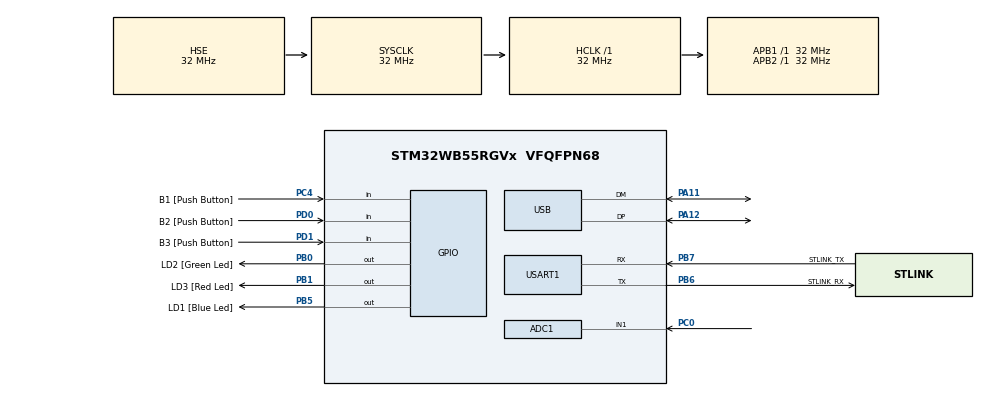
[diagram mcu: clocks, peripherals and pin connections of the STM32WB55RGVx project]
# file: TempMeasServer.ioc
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ADC1.Channel-0\#ChannelRegularConversion=ADC_CHANNEL_1
ADC1.NbrOfConversionFlag=1
ADC1.OffsetNumber-0\#ChannelRegularConversion=ADC_OFFSET_NONE
ADC1.Rank-0\#ChannelRegularConversion=1
ADC1.SamplingTime-0\#ChannelRegularConversion=ADC_SAMPLETIME_2CYCLES_5
ADC1.master=1
Mcu.Family=STM32WB
Mcu.Name=STM32WB55RGVx
Mcu.Package=VFQFPN68
NVIC.ADC1_IRQn=true\:0\:0\:false\:false\:true\:true\:true\:true
NVIC.HSEM_IRQn=true\:0\:0\:false\:false\:true\:false\:true\:true
NVIC.IPCC_C1_RX_IRQn=true\:0\:0\:false\:false\:true\:true\:true\:true
NVIC.IPCC_C1_TX_IRQn=true\:0\:0\:false\:false\:true\:true\:true\:true
NVIC.PriorityGroup=NVIC_PRIORITYGROUP_4
NVIC.USART1_IRQn=true\:0\:0\:false\:false\:true\:true\:true\:true
NVIC.USB_HP_IRQn=true\:0\:0\:false\:false\:true\:true\:true\:true
NVIC.USB_LP_IRQn=true\:0\:0\:false\:false\:true\:true\:true\:true
OSC_IN.Mode=HSE-External-Oscillator
OSC_IN.Signal=RCC_OSC_IN
OSC_OUT.Mode=HSE-External-Oscillator
OSC_OUT.Signal=RCC_OSC_OUT
PA11.Mode=Device
PA11.Signal=USB_DM
PA12.Mode=Device
PA12.Signal=USB_DP
PA13.GPIO_Label=JTMS
PA13.Mode=Trace_Asynchronous_SW
PA13.Signal=SYS_JTMS-SWDIO
PA14.GPIO_Label=JTCK
PA14.Mode=Trace_Asynchronous_SW
PA14.Signal=SYS_JTCK-SWCLK
PB0.GPIO_Label=LD2 [Green Led]
PB0.Signal=GPIO_Output
PB1.GPIO_Label=LD3 [Red Led]
PB1.Signal=GPIO_Output
PB3.GPIO_Label=JTDO
PB3.Mode=Trace_Asynchronous_SW
PB3.Signal=SYS_JTDO-SWO
PB5.GPIO_Label=LD1 [Blue Led]
PB5.Signal=GPIO_Output
PB6.GPIO_Label=STLINK_RX
PB6.GPIO_PuPd=GPIO_PULLUP
PB6.Mode=Asynchronous
PB6.Signal=USART1_TX
PB7.GPIO_Label=STLINK_TX
PB7.GPIO_PuPd=GPIO_PULLUP
PB7.Mode=Asynchronous
PB7.Signal=USART1_RX
PC0.Signal=ADCx_IN1
PC13.Mode=SYS_WakeUp1
PC13.Signal=SYS_WKUP2
PC14-OSC32_IN.Mode=LSE-External-Oscillator
PC14-OSC32_IN.Signal=RCC_OSC32_IN
PC15-OSC32_OUT.Mode=LSE-External-Oscillator
PC15-OSC32_OUT.Signal=RCC_OSC32_OUT
PC4.GPIO_Label=B1 [Push Button]
PC4.Signal=GPIO_Input
PD0.GPIO_Label=B2 [Push Button]
PD0.Signal=GPIO_Input
PD1.GPIO_Label=B3 [Push Button]
PD1.Signal=GPIO_Input
ProjectManager.HeapSize=0x200
ProjectManager.StackSize=0x400
ProjectManager.TargetToolchain=STM32CubeIDE
RCC.ADCFreq_Value=48000000
RCC.AHBFreq_Value=32000000
RCC.APB1Freq_Value=32000000
RCC.APB1TimFreq_Value=32000000
RCC.APB2Freq_Value=32000000
RCC.APB2TimFreq_Value=32000000
RCC.APB3Freq_Value=16000000
RCC.CortexFreq_Value=32000000
RCC.HCLKFreq_Value=32000000
RCC.HSE_VALUE=32000000
RCC.HSI48_VALUE=48000000
RCC.HSI_VALUE=16000000
RCC.LSE_Drive_Capability=RCC_LSEDRIVE_LOW
RCC.PLLN=32
RCC.PLLSAI1N=24
RCC.SMPSCLockSelectionVirtual=RCC_SMPSCLKSOURCE_HSI
RCC.SMPSCLockSelectionVirtualVirtual=RCC_SMPSCLKSOURCE_HSI
RCC.SMPSDivider=1
RCC.SYSCLKFreq_VALUE=32000000
RCC.SYSCLKSource=RCC_SYSCLKSOURCE_HSE
RCC.USBFreq_Value=48000000
RCC.VCOOutputFreq_Value=128000000
RF1.Mode=RF1_Activate
RF1.Signal=RF_RF1
SH.ADCx_IN1.0=ADC1_IN1,IN1-Single-Ended
STM32_WPAN.APPLI_CONFIG_LOG_LEVEL=LOG_LEVEL_DEBG
STM32_WPAN.CFG_DEBUG_TRACE_FULL=1
STM32_WPAN.CFG_DEBUG_TRACE_UART=hw_uart1
STM32_WPAN.CFG_HW_USART1_ENABLED=1
STM32_WPAN.ENDPOINT1_DEVICE_ID=ZCL_DEVICE_COMBINED_INTERFACE
STM32_WPAN.ZCL_TEMPERATURE_MEASUREMENT_ENDPOINT1=SERVER
USART1.VirtualMode-Asynchronous=VM_ASYNC
USART1.WordLength=WORDLENGTH_8B
VP_HSEM_VS_HSEM.Mode=HSEM_Activate
VP_IPCC_VS_IPCC.Mode=IPCC_Activate
VP_MEMORYMAP_VS_MEMORYMAP.Mode=CurAppReg
VP_RTC_VS_RTC_Activate.Mode=RTC_Enabled
VP_SEQUENCER_VS_SEQUENCER.Mode=SEQUENCER_Enabled
VP_STM32_WPAN_VS_ZIGBEE.Mode=MOD_ZGB_ENDPOINT
VP_TINY_LPM_VS_TINY_LPM.Mode=TINY_LPM_Enabled
board=P-NUCLEO-WB55-NUCLEO

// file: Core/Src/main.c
/* USER CODE BEGIN Header */
/**
  ******************************************************************************
  * @file           : main.c
  * @brief          : Main program body
  ******************************************************************************
  * @attention
  *
  * Copyright (c) 2024 STMicroelectronics.
  * All rights reserved.
  *
  * This software is licensed under terms that can be found in the LICENSE file
  * in the root directory of this software component.
  * If no LICENSE file comes with this software, it is provided AS-IS.
  *
  ******************************************************************************
  */
/* USER CODE END Header */
#include "main.h"

/* USER CODE BEGIN Includes */
#include "stdio.h"
#include "app_zigbee.h"
#include "stm32_seq.h"
#include "stm32wbxx_nucleo.h"
/* USER CODE END Includes */

ADC_HandleTypeDef hadc1;

IPCC_HandleTypeDef hipcc;

RTC_HandleTypeDef hrtc;

UART_HandleTypeDef huart1;

PCD_HandleTypeDef hpcd_USB_FS;

void SystemClock_Config(void);
void PeriphCommonClock_Config(void);
static void MX_GPIO_Init(void);
static void MX_USART1_UART_Init(void);
static void MX_USB_PCD_Init(void);
static void MX_ADC1_Init(void);
static void MX_IPCC_Init(void);
static void MX_RTC_Init(void);
static void MX_RF_Init(void);
/* USER CODE BEGIN PFP */
static void ADC_SEQ_Proc(void);

/* USER CODE END PFP */

int main(void)
{

  /* MCU Configuration--------------------------------------------------------*/

  /* Reset of all peripherals, Initializes the Flash interface and the Systick. */
  HAL_Init();
  /* Config code for STM32_WPAN (HSE Tuning must be done before system clock configuration) */
  MX_APPE_Config();

  /* Configure the system clock */
  SystemClock_Config();

/* Configure the peripherals common clocks */
  PeriphCommonClock_Config();

  /* IPCC initialisation */
  MX_IPCC_Init();

  /* Initialize all configured peripherals */
  MX_GPIO_Init();
  MX_USART1_UART_Init();
  MX_USB_PCD_Init();
  MX_ADC1_Init();
  MX_RTC_Init();
  MX_RF_Init();
  /* USER CODE BEGIN 2 */

  BSP_LED_Init(LED_RED);
  /* USER CODE END 2 */

  /* Init code for STM32_WPAN */
  MX_APPE_Init();

  /* Infinite loop */
  /* USER CODE BEGIN WHILE */
  HAL_ADC_Start_IT(&hadc1);

  UTIL_SEQ_RegTask(1U << CFG_TASK_WRITE_ADC, UTIL_SEQ_RFU, ADC_SEQ_Proc);

  while (1)
  {
    /* USER CODE END WHILE */
    MX_APPE_Process();

  }
}

void SystemClock_Config(void)
{
  RCC_OscInitTypeDef RCC_OscInitStruct = {0};
  RCC_ClkInitTypeDef RCC_ClkInitStruct = {0};

  /** Macro to configure the PLL multiplication factor
  */
  __HAL_RCC_PLL_PLLM_CONFIG(RCC_PLLM_DIV1);

  /** Macro to configure the PLL clock source
  */
  __HAL_RCC_PLL_PLLSOURCE_CONFIG(RCC_PLLSOURCE_MSI);

  /** Configure LSE Drive Capability
  */
  HAL_PWR_EnableBkUpAccess();
  __HAL_RCC_LSEDRIVE_CONFIG(RCC_LSEDRIVE_LOW);

  /** Configure the main internal regulator output voltage
  */
  __HAL_PWR_VOLTAGESCALING_CONFIG(PWR_REGULATOR_VOLTAGE_SCALE1);

  /** Initializes the RCC Oscillators according to the specified parameters
  * in the RCC_OscInitTypeDef structure.
  */
  RCC_OscInitStruct.OscillatorType = RCC_OSCILLATORTYPE_HSI|RCC_OSCILLATORTYPE_LSI1
                              |RCC_OSCILLATORTYPE_HSE|RCC_OSCILLATORTYPE_LSE
                              |RCC_OSCILLATORTYPE_MSI;
  RCC_OscInitStruct.HSEState = RCC_HSE_ON;
  RCC_OscInitStruct.LSEState = RCC_LSE_ON;
  RCC_OscInitStruct.HSIState = RCC_HSI_ON;
  RCC_OscInitStruct.MSIState = RCC_MSI_ON;
  RCC_OscInitStruct.HSICalibrationValue = RCC_HSICALIBRATION_DEFAULT;
  RCC_OscInitStruct.MSICalibrationValue = RCC_MSICALIBRATION_DEFAULT;
  RCC_OscInitStruct.MSIClockRange = RCC_MSIRANGE_6;
  RCC_OscInitStruct.LSIState = RCC_LSI_ON;
  RCC_OscInitStruct.PLL.PLLState = RCC_PLL_NONE;
  if (HAL_RCC_OscConfig(&RCC_OscInitStruct) != HAL_OK)
  {
    Error_Handler();
  }

  /** Configure the SYSCLKSource, HCLK, PCLK1 and PCLK2 clocks dividers
  */
  RCC_ClkInitStruct.ClockType = RCC_CLOCKTYPE_HCLK4|RCC_CLOCKTYPE_HCLK2
                              |RCC_CLOCKTYPE_HCLK|RCC_CLOCKTYPE_SYSCLK
                              |RCC_CLOCKTYPE_PCLK1|RCC_CLOCKTYPE_PCLK2;
  RCC_ClkInitStruct.SYSCLKSource = RCC_SYSCLKSOURCE_HSE;
  RCC_ClkInitStruct.AHBCLKDivider = RCC_SYSCLK_DIV1;
  RCC_ClkInitStruct.APB1CLKDivider = RCC_HCLK_DIV1;
  RCC_ClkInitStruct.APB2CLKDivider = RCC_HCLK_DIV1;
  RCC_ClkInitStruct.AHBCLK2Divider = RCC_SYSCLK_DIV1;
  RCC_ClkInitStruct.AHBCLK4Divider = RCC_SYSCLK_DIV1;

  if (HAL_RCC_ClockConfig(&RCC_ClkInitStruct, FLASH_LATENCY_1) != HAL_OK)
  {
    Error_Handler();
  }

  /** Enable MSI Auto calibration
  */
  HAL_RCCEx_EnableMSIPLLMode();
}

void PeriphCommonClock_Config(void)
{
  RCC_PeriphCLKInitTypeDef PeriphClkInitStruct = {0};

  /** Initializes the peripherals clock
  */
  PeriphClkInitStruct.PeriphClockSelection = RCC_PERIPHCLK_SMPS|RCC_PERIPHCLK_RFWAKEUP
                              |RCC_PERIPHCLK_USB|RCC_PERIPHCLK_ADC;
  PeriphClkInitStruct.PLLSAI1.PLLN = 24;
  PeriphClkInitStruct.PLLSAI1.PLLP = RCC_PLLP_DIV2;
  PeriphClkInitStruct.PLLSAI1.PLLQ = RCC_PLLQ_DIV2;
  PeriphClkInitStruct.PLLSAI1.PLLR = RCC_PLLR_DIV2;
  PeriphClkInitStruct.PLLSAI1.PLLSAI1ClockOut = RCC_PLLSAI1_USBCLK|RCC_PLLSAI1_ADCCLK;
  PeriphClkInitStruct.UsbClockSelection = RCC_USBCLKSOURCE_PLLSAI1;
  PeriphClkInitStruct.AdcClockSelection = RCC_ADCCLKSOURCE_PLLSAI1;
  PeriphClkInitStruct.RFWakeUpClockSelection = RCC_RFWKPCLKSOURCE_HSE_DIV1024;
  PeriphClkInitStruct.SmpsClockSelection = RCC_SMPSCLKSOURCE_HSI;
  PeriphClkInitStruct.SmpsDivSelection = RCC_SMPSCLKDIV_RANGE0;

  if (HAL_RCCEx_PeriphCLKConfig(&PeriphClkInitStruct) != HAL_OK)
  {
    Error_Handler();
  }
}

static void MX_ADC1_Init(void)
{

  ADC_ChannelConfTypeDef sConfig = {0};

  /** Common config
  */
  hadc1.Instance = ADC1;
  hadc1.Init.ClockPrescaler = ADC_CLOCK_ASYNC_DIV1;
  hadc1.Init.Resolution = ADC_RESOLUTION_12B;
  hadc1.Init.DataAlign = ADC_DATAALIGN_RIGHT;
  hadc1.Init.ScanConvMode = ADC_SCAN_DISABLE;
  hadc1.Init.EOCSelection = ADC_EOC_SINGLE_CONV;
  hadc1.Init.LowPowerAutoWait = DISABLE;
  hadc1.Init.ContinuousConvMode = DISABLE;
  hadc1.Init.NbrOfConversion = 1;
  hadc1.Init.DiscontinuousConvMode = DISABLE;
  hadc1.Init.ExternalTrigConv = ADC_SOFTWARE_START;
  hadc1.Init.ExternalTrigConvEdge = ADC_EXTERNALTRIGCONVEDGE_NONE;
  hadc1.Init.DMAContinuousRequests = DISABLE;
  hadc1.Init.Overrun = ADC_OVR_DATA_PRESERVED;
  hadc1.Init.OversamplingMode = DISABLE;
  if (HAL_ADC_Init(&hadc1) != HAL_OK)
  {
    Error_Handler();
  }

  /** Configure Regular Channel
  */
  sConfig.Channel = ADC_CHANNEL_1;
  sConfig.Rank = ADC_REGULAR_RANK_1;
  sConfig.SamplingTime = ADC_SAMPLETIME_2CYCLES_5;
  sConfig.SingleDiff = ADC_SINGLE_ENDED;
  sConfig.OffsetNumber = ADC_OFFSET_NONE;
  sConfig.Offset = 0;
  if (HAL_ADC_ConfigChannel(&hadc1, &sConfig) != HAL_OK)
  {
    Error_Handler();
  }

}

static void MX_IPCC_Init(void)
{

  hipcc.Instance = IPCC;
  if (HAL_IPCC_Init(&hipcc) != HAL_OK)
  {
    Error_Handler();
  }

}

static void MX_RF_Init(void)
{

}

static void MX_RTC_Init(void)
{

  /** Initialize RTC Only
  */
  hrtc.Instance = RTC;
  hrtc.Init.HourFormat = RTC_HOURFORMAT_24;
  hrtc.Init.AsynchPrediv = CFG_RTC_ASYNCH_PRESCALER;
  hrtc.Init.SynchPrediv = CFG_RTC_SYNCH_PRESCALER;
  hrtc.Init.OutPut = RTC_OUTPUT_DISABLE;
  hrtc.Init.OutPutPolarity = RTC_OUTPUT_POLARITY_HIGH;
  hrtc.Init.OutPutType = RTC_OUTPUT_TYPE_OPENDRAIN;
  hrtc.Init.OutPutRemap = RTC_OUTPUT_REMAP_NONE;
  if (HAL_RTC_Init(&hrtc) != HAL_OK)
  {
    Error_Handler();
  }

}

static void MX_USART1_UART_Init(void)
{

  huart1.Instance = USART1;
  huart1.Init.BaudRate = 115200;
  huart1.Init.WordLength = UART_WORDLENGTH_8B;
  huart1.Init.StopBits = UART_STOPBITS_1;
  huart1.Init.Parity = UART_PARITY_NONE;
  huart1.Init.Mode = UART_MODE_TX_RX;
  huart1.Init.HwFlowCtl = UART_HWCONTROL_NONE;
  huart1.Init.OverSampling = UART_OVERSAMPLING_8;
  huart1.Init.OneBitSampling = UART_ONE_BIT_SAMPLE_DISABLE;
  huart1.Init.ClockPrescaler = UART_PRESCALER_DIV1;
  huart1.AdvancedInit.AdvFeatureInit = UART_ADVFEATURE_NO_INIT;
  if (HAL_UART_Init(&huart1) != HAL_OK)
  {
    Error_Handler();
  }
  if (HAL_UARTEx_SetTxFifoThreshold(&huart1, UART_TXFIFO_THRESHOLD_1_8) != HAL_OK)
  {
    Error_Handler();
  }
  if (HAL_UARTEx_SetRxFifoThreshold(&huart1, UART_RXFIFO_THRESHOLD_1_8) != HAL_OK)
  {
    Error_Handler();
  }
  if (HAL_UARTEx_DisableFifoMode(&huart1) != HAL_OK)
  {
    Error_Handler();
  }

}

static void MX_USB_PCD_Init(void)
{

  hpcd_USB_FS.Instance = USB;
  hpcd_USB_FS.Init.dev_endpoints = 8;
  hpcd_USB_FS.Init.speed = PCD_SPEED_FULL;
  hpcd_USB_FS.Init.phy_itface = PCD_PHY_EMBEDDED;
  hpcd_USB_FS.Init.Sof_enable = DISABLE;
  hpcd_USB_FS.Init.low_power_enable = DISABLE;
  hpcd_USB_FS.Init.lpm_enable = DISABLE;
  hpcd_USB_FS.Init.battery_charging_enable = DISABLE;
  if (HAL_PCD_Init(&hpcd_USB_FS) != HAL_OK)
  {
    Error_Handler();
  }

}

static void MX_GPIO_Init(void)
{
  GPIO_InitTypeDef GPIO_InitStruct = {0};

  /* GPIO Ports Clock Enable */
  __HAL_RCC_GPIOC_CLK_ENABLE();
  __HAL_RCC_GPIOB_CLK_ENABLE();
  __HAL_RCC_GPIOA_CLK_ENABLE();
  __HAL_RCC_GPIOD_CLK_ENABLE();

  /*Configure GPIO pin Output Level */
  HAL_GPIO_WritePin(GPIOB, LD2_Pin|LD3_Pin|LD1_Pin, GPIO_PIN_RESET);

  /*Configure GPIO pin : B1_Pin */
  GPIO_InitStruct.Pin = B1_Pin;
  GPIO_InitStruct.Mode = GPIO_MODE_INPUT;
  GPIO_InitStruct.Pull = GPIO_NOPULL;
  HAL_GPIO_Init(B1_GPIO_Port, &GPIO_InitStruct);

  /*Configure GPIO pins : LD2_Pin LD3_Pin LD1_Pin */
  GPIO_InitStruct.Pin = LD2_Pin|LD3_Pin|LD1_Pin;
  GPIO_InitStruct.Mode = GPIO_MODE_OUTPUT_PP;
  GPIO_InitStruct.Pull = GPIO_NOPULL;
  GPIO_InitStruct.Speed = GPIO_SPEED_FREQ_LOW;
  HAL_GPIO_Init(GPIOB, &GPIO_InitStruct);

  /*Configure GPIO pins : B2_Pin B3_Pin */
  GPIO_InitStruct.Pin = B2_Pin|B3_Pin;
  GPIO_InitStruct.Mode = GPIO_MODE_INPUT;
  GPIO_InitStruct.Pull = GPIO_NOPULL;
  HAL_GPIO_Init(GPIOD, &GPIO_InitStruct);

}

/* USER CODE BEGIN 4 */

void HAL_ADC_ConvCpltCallback(ADC_HandleTypeDef *hadc) {
	UTIL_SEQ_SetTask(1U << CFG_TASK_WRITE_ADC, CFG_SCH_PRIO_0);
}

void ADC_SEQ_Proc() {
	uint32_t adc_res = HAL_ADC_GetValue(&hadc1);
	long long new_temp = (long long) (50000*adc_res/4096);

	if(new_temp == 0)
		BSP_LED_Toggle(LED_GREEN);

	updateAttr(new_temp);

	printf("Temp: %l\n", new_temp);

	HAL_Delay(200);
	HAL_ADC_Start_IT(&hadc1);
}
/* USER CODE END 4 */

void Error_Handler(void)
{
  __disable_irq();
  while (1)
  {
  }
}
